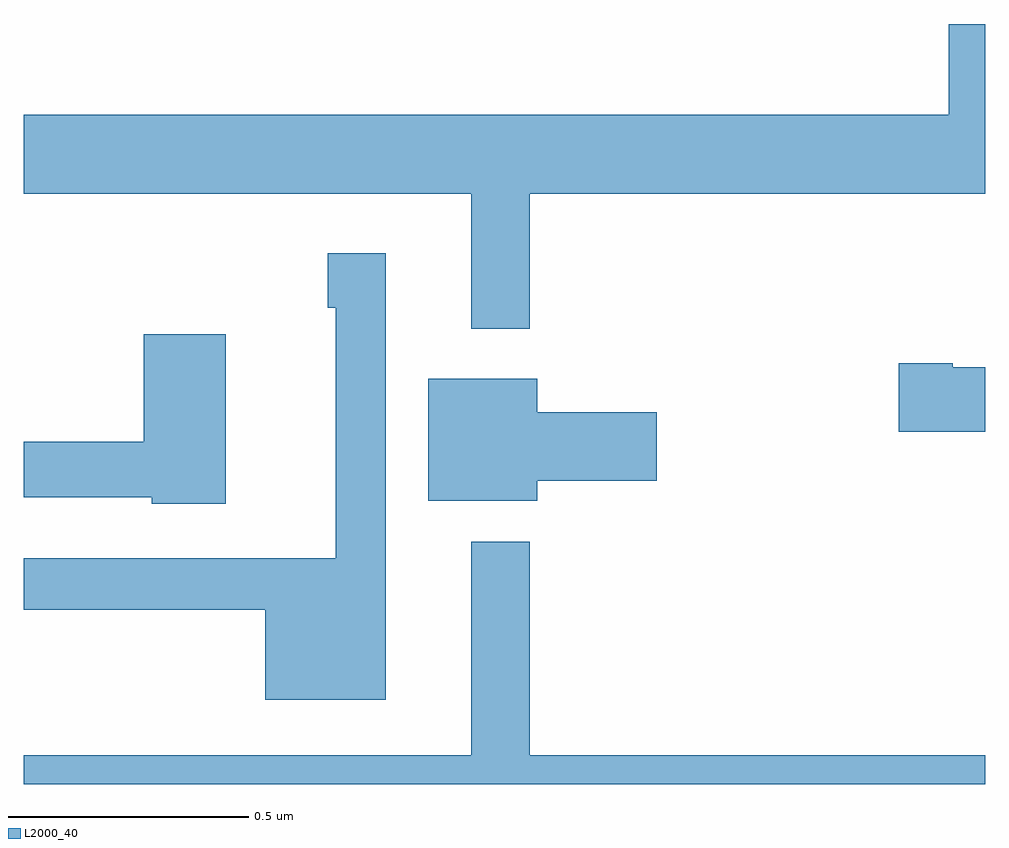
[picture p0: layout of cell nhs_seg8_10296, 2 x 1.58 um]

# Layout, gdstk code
import gdstk
lib = gdstk.Library(unit=1e-6, precision=1e-09)
def P(c, l, *ps):  # polygons
    for p in ps: c.add(gdstk.Polygon(p, *l))
L2000_40 = (2000, 40)

nhs_seg8_10296 = lib.new_cell('nhs_seg8_10296')
P(nhs_seg8_10296, L2000_40, [(248.053,1155.128),(249,1155.128),(249,1155.481),(248.924,1155.481),(248.924,1155.292),(247,1155.292),(247,1155.128),(247.931,1155.128),(247.931,1154.847),(248.053,1154.847)],
  [(247.753,1155.004),(247.632,1155.004),(247.632,1154.891),(247.649,1154.891),(247.649,1154.37),(247,1154.37),(247,1154.262),(247.502,1154.262),(247.502,1154.075),(247.753,1154.075)],
  [(247.42,1154.836),(247.25,1154.836),(247.25,1154.612),(247,1154.612),(247,1154.496),(247.266,1154.496),(247.266,1154.483),(247.42,1154.483)],
  [(249,1154.767),(248.932,1154.767),(248.932,1154.775),(248.82,1154.775),(248.82,1154.633),(249,1154.633)],
  [(248.068,1154.531),(248.317,1154.531),(248.317,1154.673),(248.068,1154.673),(248.068,1154.743),(247.841,1154.743),(247.841,1154.489),(248.068,1154.489)],
  [(249,1153.96),(248.053,1153.96),(248.053,1154.404),(247.931,1154.404),(247.931,1153.96),(247,1153.96),(247,1153.9),(249,1153.9)])

lib.write_gds('nhs_seg8_10296.gds')
